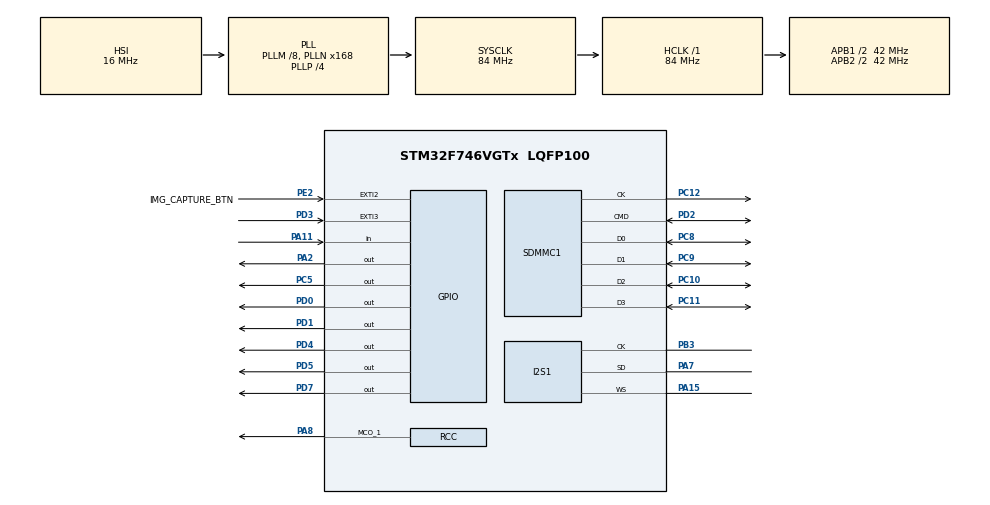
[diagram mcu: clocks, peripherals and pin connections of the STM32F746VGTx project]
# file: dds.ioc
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ARM.CMSIS.5.6.0.CMSISJjCORE=true
ARM.CMSIS.5.6.0.CMSISJjDSP=Source
CORTEX_M7.CPU_DCache=Enabled
CORTEX_M7.CPU_ICache=Enabled
Dma.Request0=SPI1_RX
Dma.SPI1_RX.0.Direction=DMA_PERIPH_TO_MEMORY
Dma.SPI1_RX.0.FIFOMode=DMA_FIFOMODE_DISABLE
Dma.SPI1_RX.0.Instance=DMA2_Stream0
Dma.SPI1_RX.0.MemDataAlignment=DMA_MDATAALIGN_HALFWORD
Dma.SPI1_RX.0.MemInc=DMA_MINC_ENABLE
Dma.SPI1_RX.0.Mode=DMA_NORMAL
Dma.SPI1_RX.0.PeriphDataAlignment=DMA_PDATAALIGN_HALFWORD
Dma.SPI1_RX.0.PeriphInc=DMA_PINC_DISABLE
Dma.SPI1_RX.0.Priority=DMA_PRIORITY_LOW
FATFS.BSP.number=1
FATFS._USE_LFN=1
FATFS0.BSP.STBoard=false
FATFS0.BSP.api=Unknown
FATFS0.BSP.i2caddr=0
FATFS0.BSP.instance=PA11
FATFS0.BSP.ip=GPIO
FATFS0.BSP.mode=Input
FATFS0.BSP.name=Detect_SDIO
FATFS0.BSP.solution=PA11
I2S1.AudioFreq=I2S_AUDIOFREQ_44K
I2S1.CPOL=I2S_CPOL_HIGH
I2S1.DataFormat=I2S_DATAFORMAT_24B
I2S1.ErrorAudioFreq=-1.35 %
I2S1.FullDuplexMode=I2S_FULLDUPLEXMODE_DISABLE
I2S1.Instance=SPI$Index
I2S1.Mode=I2S_MODE_MASTER_RX
I2S1.RealAudioFreq=43.402 KHz
I2S1.Standard=I2S_STANDARD_MSB
I2S1.VirtualMode=I2S_MODE_MASTER
Mcu.Family=STM32F7
Mcu.Name=STM32F746VGTx
Mcu.Package=LQFP100
Mcu.UserConstants=USE_HAL_DCMI_REGISTER_CALLBACKS,1
NVIC.DMA2_Stream0_IRQn=true\:0\:0\:false\:false\:true\:false\:true
NVIC.EXTI2_IRQn=true\:1\:0\:true\:false\:true\:true\:true
NVIC.EXTI3_IRQn=true\:1\:0\:true\:false\:true\:true\:true
NVIC.PriorityGroup=NVIC_PRIORITYGROUP_4
NVIC.SPI1_IRQn=true\:2\:0\:true\:false\:true\:true\:true
PA11.Signal=GPIO_Input
PA13.Mode=Serial_Wire
PA13.Signal=SYS_JTMS-SWDIO
PA14.Mode=Serial_Wire
PA14.Signal=SYS_JTCK-SWCLK
PA15.Mode=Half_Duplex_Master
PA15.Signal=I2S1_WS
PA2.Signal=GPIO_Output
PA7.Mode=Half_Duplex_Master
PA7.Signal=I2S1_SD
PA8.Mode=Clock-out-1
PA8.Signal=RCC_MCO_1
PB3.Mode=Half_Duplex_Master
PB3.Signal=I2S1_CK
PC10.GPIO_PuPd=GPIO_PULLUP
PC10.Mode=SD_4_bits_Wide_bus
PC10.Signal=SDMMC1_D2
PC11.GPIO_PuPd=GPIO_PULLUP
PC11.Mode=SD_4_bits_Wide_bus
PC11.Signal=SDMMC1_D3
PC12.GPIO_PuPd=GPIO_PULLUP
PC12.Mode=SD_4_bits_Wide_bus
PC12.Signal=SDMMC1_CK
PC5.Signal=GPIO_Output
PC8.GPIO_PuPd=GPIO_PULLUP
PC8.Mode=SD_4_bits_Wide_bus
PC8.Signal=SDMMC1_D0
PC9.GPIO_PuPd=GPIO_PULLUP
PC9.Mode=SD_4_bits_Wide_bus
PC9.Signal=SDMMC1_D1
PD0.GPIO_ModeDefaultOutputPP=GPIO_MODE_OUTPUT_OD
PD0.GPIO_PuPd=GPIO_PULLUP
PD0.GPIO_Speed=GPIO_SPEED_FREQ_VERY_HIGH
PD0.PinState=GPIO_PIN_SET
PD0.Signal=GPIO_Output
PD1.GPIO_ModeDefaultOutputPP=GPIO_MODE_OUTPUT_OD
PD1.GPIO_PuPd=GPIO_PULLUP
PD1.GPIO_Speed=GPIO_SPEED_FREQ_VERY_HIGH
PD1.PinState=GPIO_PIN_SET
PD1.Signal=GPIO_Output
PD2.GPIO_PuPd=GPIO_PULLUP
PD2.Mode=SD_4_bits_Wide_bus
PD2.Signal=SDMMC1_CMD
PD3.GPIO_ModeDefaultEXTI=GPIO_MODE_IT_FALLING
PD3.GPIO_PuPd=GPIO_NOPULL
PD3.Signal=GPXTI3
PD4.Signal=GPIO_Output
PD5.GPIO_ModeDefaultOutputPP=GPIO_MODE_OUTPUT_PP
PD5.Signal=GPIO_Output
PD7.Signal=GPIO_Output
PE2.GPIO_Label=IMG_CAPTURE_BTN
PE2.GPIO_ModeDefaultEXTI=GPIO_MODE_IT_FALLING
PE2.GPIO_PuPd=GPIO_NOPULL
PE2.Signal=GPXTI2
ProjectManager.HeapSize=0x10000
ProjectManager.StackSize=0x800
ProjectManager.TargetToolchain=MDK-ARM V5.27
RCC.AHBFreq_Value=84000000
RCC.APB1CLKDivider=RCC_HCLK_DIV2
RCC.APB1Freq_Value=42000000
RCC.APB1TimFreq_Value=84000000
RCC.APB2CLKDivider=RCC_HCLK_DIV2
RCC.APB2Freq_Value=42000000
RCC.APB2TimFreq_Value=84000000
RCC.CortexFreq_Value=84000000
RCC.HCLKFreq_Value=84000000
RCC.HSE_VALUE=8000000
RCC.HSI_VALUE=16000000
RCC.LSE_VALUE=32768
RCC.PLLI2SN=50
RCC.PLLI2SR=4
RCC.PLLM=8
RCC.PLLN=168
RCC.PLLP=RCC_PLLP_DIV4
RCC.PLLQ=14
RCC.SDMMCClockSelection=RCC_SDMMC1CLKSOURCE_CLK48
RCC.SYSCLKFreq_VALUE=84000000
RCC.SYSCLKSource=RCC_SYSCLKSOURCE_PLLCLK
RCC.USBFreq_Value=24000000
RCC.VCOOutputFreq_Value=336000000
VP_ARM.CMSIS_VS_CMSISJjCORE_5.3.0.Mode=CMSISJjCORE
VP_ARM.CMSIS_VS_CMSISJjDSP_1.7.0.Mode=CMSISJjDSP
VP_FATFS_VS_SDIO.Mode=SDIO
VP_RTC_VS_RTC_Activate.Mode=RTC_Enabled
VP_RTC_VS_RTC_Calendar.Mode=RTC_Calendar
board=custom

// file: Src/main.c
/* USER CODE BEGIN Header */
/**
  ******************************************************************************
  * @file           : main.c
  * @brief          : Main program body
  ******************************************************************************
  * @attention
  *
  * <h2><center>&copy; Copyright (c) 2021 STMicroelectronics.
  * All rights reserved.</center></h2>
  *
  * This software component is licensed by ST under Ultimate Liberty license
  * SLA0044, the "License"; You may not use this file except in compliance with
  * the License. You may obtain a copy of the License at:
  *                             www.st.com/SLA0044
  *
  ******************************************************************************
  */
/* USER CODE END Header */

#include "main.h"
#include "fatfs.h"

/* USER CODE BEGIN Includes */
#include <string.h>
#include <stdio.h>
#include <stdlib.h>
#include <stdbool.h>

#include "ov5640.h"
#include "arm_math.h"

#pragma pack(1)
#include "wav_file.h"
/* USER CODE END Includes */

/* USER CODE BEGIN PTD */

#define I2S_SAMPLE_RATE_HZ 		(44100)
#define I2S_SAMPLE_PER_INT 		(I2S_SAMPLE_RATE_HZ / 8)
#define I2S_BUFSIZE_SAMPLES 	(I2S_SAMPLE_PER_INT * 2)		// sampled in stereo, but only single channel used
#define I2S_BUFSIZE_HALFWORD	(I2S_BUFSIZE_SAMPLES * 2)
#define I2S_BUFSIZE_WORD			(I2S_BUFSIZE_HALFWORD /2)
#define I2S_QUEUE_LEN  				(6)

#define AMP_FACTOR						(3)

//#define ENABLE_RTC

/* USER CODE END PTD */

I2S_HandleTypeDef hi2s1;
DMA_HandleTypeDef hdma_spi1_rx;

RTC_HandleTypeDef hrtc;

SD_HandleTypeDef hsd1;

/* USER CODE BEGIN PV */
uint8_t  i2s_queue_head = 0;
uint8_t  i2s_queue_tail = 0;
uint16_t audio_sample_buf[I2S_QUEUE_LEN][I2S_BUFSIZE_HALFWORD];
int16_t audio_fwrite_buf[I2S_SAMPLE_PER_INT];

volatile float32_t iir_in[I2S_SAMPLE_PER_INT];
volatile float32_t iir_out[I2S_SAMPLE_PER_INT];

volatile bool run_state = false;
volatile bool i2s_file_opened = false;

volatile bool dcmi_triggered = false;
volatile bool dcmi_data_valid = false;

volatile FRESULT result_audio_write 	= FR_DENIED;
volatile FRESULT result_audio_close		= FR_DENIED;
volatile FRESULT result_audio_open 		= FR_DENIED;

void indicate_err();
void indicate_success();
void indicate_stop();
void indicate_ready();

void start_recording();
void stop_recording();

void i2s_to_fs();

void file_err_handler(void);

void test_setrtc();
void create_stream_dir();

volatile bool init_done = false;
/* USER CODE END PV */

void SystemClock_Config(void);
static void MX_GPIO_Init(void);
static void MX_DMA_Init(void);
static void MX_I2S1_Init(void);
static void MX_SDMMC1_SD_Init(void);
static void MX_RTC_Init(void);

/* USER CODE BEGIN 0 */

/* Number of i2s interrupts */
volatile int i2s_int_cnt = 0;
volatile int i2s_fs_cnt = 0;
volatile int i2s_queue_ovf_cnt = 0;
volatile int fs_fail_cnt = 0;
volatile int exti3_int_cnt = 0;

WAVHeader wav_header;
WAVData wav_data;
char audio_filename[50];
UINT bw;

float32_t iir_coeffs[5] = {
	0.8118496248713318f,
	1.6236992497426637f,
	0.8118496248713318f,
	-1.588572206276975f,
	-0.6588262932083526f
};

const float32_t a0 = 0.8118496248713318f;
const float32_t a1 = 1.6236992497426637f;
const float32_t a2 = 0.8118496248713318f;
const float32_t b1 = 1.588572206276975f;
const float32_t b2 = 0.6588262932083526f;

float32_t in_z1, in_z2, out_z1, out_z2;

float32_t iir_states[4];

arm_biquad_casd_df1_inst_f32 biquad_config;

int16_t Calc_IIR (int16_t inSample) {
	float inSampleF = (float)inSample;
	float outSampleF =
			a0 * inSampleF
			+ a1 * in_z1
			+ a2 * in_z2
			- b1 * out_z1
			- b2 * out_z2;
	in_z2 = in_z1;
	in_z1 = inSampleF;
	out_z2 = out_z1;
	out_z1 = outSampleF;

	return (int16_t) outSampleF;
}

/* USER CODE END 0 */

int main(void)
{

  /* Enable I-Cache---------------------------------------------------------*/
  SCB_EnableICache();

  /* Enable D-Cache---------------------------------------------------------*/
  SCB_EnableDCache();

  /* MCU Configuration--------------------------------------------------------*/

  /* Reset of all peripherals, Initializes the Flash interface and the Systick. */
  HAL_Init();

  /* Configure the system clock */
  SystemClock_Config();

  /* Initialize all configured peripherals */
  MX_GPIO_Init();
  MX_DMA_Init();
  MX_I2S1_Init();
  MX_SDMMC1_SD_Init();
  MX_FATFS_Init();

	#ifdef ENABLE_RTC
		MX_RTC_Init();
	#endif
  /* USER CODE BEGIN 2 */

	//HAL_RTC_GetTime(&hrtc, &rtc_time, FORMAT_BIN);
	//HAL_RTC_GetDate(&hrtc, &rtc_date, FORMAT_BIN);

	if (HAL_I2S_DeInit(&hi2s1) != HAL_OK)
  {
    Error_Handler();
  }

	//test_setrtc();
	HAL_Delay(100);

	HAL_GPIO_WritePin(GPIOD, GPIO_PIN_7, GPIO_PIN_RESET);
	HAL_GPIO_WritePin(GPIOD, GPIO_PIN_5, GPIO_PIN_RESET);
	HAL_GPIO_WritePin(GPIOD, GPIO_PIN_4, GPIO_PIN_RESET);

  volatile FRESULT result_mount = FR_INVALID_PARAMETER;
	int mount_fail_cnt = 0;

	volatile HAL_StatusTypeDef result = HAL_SD_Init(&hsd1);
	while (result != HAL_OK) {
		result = HAL_SD_Init(&hsd1);
	}
	volatile HAL_StatusTypeDef result2 = HAL_SD_InitCard(&hsd1);
	result_mount = f_mount(&SDFatFS, SDPath, 1);

	while (result_mount != FR_OK) {
			HAL_SD_DeInit(&hsd1);
			HAL_SD_Init(&hsd1);
			HAL_SD_InitCard(&hsd1);

			result_mount = f_mount(&SDFatFS, SDPath, 1);
	};

	//create_stream_dir();
	//f_mkdir("image");
	//volatile FRESULT fresult = f_mkdir("audio");
	HAL_Delay(50);

	for (int cnt=0; cnt < 200; ) {
		HAL_Delay(10);
		if (HAL_GPIO_ReadPin(GPIOD, GPIO_PIN_3) == GPIO_PIN_RESET){
			cnt = 0;
		} else {
			cnt++;
		}
	}

	__HAL_GPIO_EXTI_CLEAR_IT(GPIO_PIN_3);
	HAL_Delay(50);
	indicate_ready();
	init_done = true;

  /* USER CODE END 2 */

  /* Infinite loop */
  while (1)
  {

    /* USER CODE BEGIN 3 */
		if (!run_state) {
			if (i2s_file_opened) {
				i2s_file_opened = false;
				//result_audio_close = FR_DENIED;
				//while (result_audio_close != FR_OK) {
				//	result_audio_close = f_close(&SDFile);
				//}
				result_mount = FR_DENIED;

				f_close(&SDFile);
				while (result_mount != FR_OK) {
					HAL_SD_DeInit(&hsd1);
					HAL_SD_Init(&hsd1);
					HAL_SD_InitCard(&hsd1);
					result_mount = f_mount(&SDFatFS, SDPath, 1);
				};
			}

			i2s_queue_head = 0;
			i2s_queue_tail = 0;
			//continue;
		} else if (i2s_queue_head != i2s_queue_tail) {
			i2s_to_fs();
		}
  }
  /* USER CODE END 3 */
}

void SystemClock_Config(void)
{
  RCC_OscInitTypeDef RCC_OscInitStruct = {0};
  RCC_ClkInitTypeDef RCC_ClkInitStruct = {0};
  RCC_PeriphCLKInitTypeDef PeriphClkInitStruct = {0};

  /** Configure the main internal regulator output voltage
  */
  __HAL_RCC_PWR_CLK_ENABLE();
  __HAL_PWR_VOLTAGESCALING_CONFIG(PWR_REGULATOR_VOLTAGE_SCALE3);
  /** Initializes the CPU, AHB and APB busses clocks
  */
  RCC_OscInitStruct.OscillatorType = RCC_OSCILLATORTYPE_HSI|RCC_OSCILLATORTYPE_LSI;
  RCC_OscInitStruct.HSIState = RCC_HSI_ON;
  RCC_OscInitStruct.HSICalibrationValue = RCC_HSICALIBRATION_DEFAULT;
  RCC_OscInitStruct.LSIState = RCC_LSI_ON;
  RCC_OscInitStruct.PLL.PLLState = RCC_PLL_ON;
  RCC_OscInitStruct.PLL.PLLSource = RCC_PLLSOURCE_HSI;
  RCC_OscInitStruct.PLL.PLLM = 8;
  RCC_OscInitStruct.PLL.PLLN = 168;
  RCC_OscInitStruct.PLL.PLLP = RCC_PLLP_DIV4;
  RCC_OscInitStruct.PLL.PLLQ = 14;
  if (HAL_RCC_OscConfig(&RCC_OscInitStruct) != HAL_OK)
  {
    Error_Handler();
  }
  /** Initializes the CPU, AHB and APB busses clocks
  */
  RCC_ClkInitStruct.ClockType = RCC_CLOCKTYPE_HCLK|RCC_CLOCKTYPE_SYSCLK
                              |RCC_CLOCKTYPE_PCLK1|RCC_CLOCKTYPE_PCLK2;
  RCC_ClkInitStruct.SYSCLKSource = RCC_SYSCLKSOURCE_PLLCLK;
  RCC_ClkInitStruct.AHBCLKDivider = RCC_SYSCLK_DIV1;
  RCC_ClkInitStruct.APB1CLKDivider = RCC_HCLK_DIV2;
  RCC_ClkInitStruct.APB2CLKDivider = RCC_HCLK_DIV2;

  if (HAL_RCC_ClockConfig(&RCC_ClkInitStruct, FLASH_LATENCY_2) != HAL_OK)
  {
    Error_Handler();
  }
  PeriphClkInitStruct.PeriphClockSelection = RCC_PERIPHCLK_RTC|RCC_PERIPHCLK_SDMMC1
                              |RCC_PERIPHCLK_I2S|RCC_PERIPHCLK_CLK48;
  PeriphClkInitStruct.PLLI2S.PLLI2SN = 50;
  PeriphClkInitStruct.PLLI2S.PLLI2SP = RCC_PLLP_DIV2;
  PeriphClkInitStruct.PLLI2S.PLLI2SR = 4;
  PeriphClkInitStruct.PLLI2S.PLLI2SQ = 2;
  PeriphClkInitStruct.PLLI2SDivQ = 1;
  PeriphClkInitStruct.RTCClockSelection = RCC_RTCCLKSOURCE_LSI;
  PeriphClkInitStruct.I2sClockSelection = RCC_I2SCLKSOURCE_PLLI2S;
  PeriphClkInitStruct.Clk48ClockSelection = RCC_CLK48SOURCE_PLL;
  PeriphClkInitStruct.Sdmmc1ClockSelection = RCC_SDMMC1CLKSOURCE_CLK48;
  if (HAL_RCCEx_PeriphCLKConfig(&PeriphClkInitStruct) != HAL_OK)
  {
    Error_Handler();
  }
  HAL_RCC_MCOConfig(RCC_MCO1, RCC_MCO1SOURCE_HSI, RCC_MCODIV_1);
}

static void MX_I2S1_Init(void)
{

  hi2s1.Instance = SPI1;
  hi2s1.Init.Mode = I2S_MODE_MASTER_RX;
  hi2s1.Init.Standard = I2S_STANDARD_MSB;
  hi2s1.Init.DataFormat = I2S_DATAFORMAT_24B;
  hi2s1.Init.MCLKOutput = I2S_MCLKOUTPUT_DISABLE;
  hi2s1.Init.AudioFreq = I2S_AUDIOFREQ_44K;
  hi2s1.Init.CPOL = I2S_CPOL_HIGH;
  hi2s1.Init.ClockSource = I2S_CLOCK_PLL;
  if (HAL_I2S_Init(&hi2s1) != HAL_OK)
  {
    Error_Handler();
  }

}

static void MX_RTC_Init(void)
{

  RTC_TimeTypeDef sTime = {0};
  RTC_DateTypeDef sDate = {0};

  /** Initialize RTC Only
  */
  hrtc.Instance = RTC;
  hrtc.Init.HourFormat = RTC_HOURFORMAT_24;
  hrtc.Init.AsynchPrediv = 127;
  hrtc.Init.SynchPrediv = 255;
  hrtc.Init.OutPut = RTC_OUTPUT_DISABLE;
  hrtc.Init.OutPutPolarity = RTC_OUTPUT_POLARITY_HIGH;
  hrtc.Init.OutPutType = RTC_OUTPUT_TYPE_OPENDRAIN;
  if (HAL_RTC_Init(&hrtc) != HAL_OK)
  {
    Error_Handler();
  }

  /** Initialize RTC and set the Time and Date
  */
  sTime.Hours = 0x0;
  sTime.Minutes = 0x0;
  sTime.Seconds = 0x0;
  sTime.DayLightSaving = RTC_DAYLIGHTSAVING_NONE;
  sTime.StoreOperation = RTC_STOREOPERATION_RESET;
  if (HAL_RTC_SetTime(&hrtc, &sTime, RTC_FORMAT_BCD) != HAL_OK)
  {
    Error_Handler();
  }
  sDate.WeekDay = RTC_WEEKDAY_MONDAY;
  sDate.Month = RTC_MONTH_JANUARY;
  sDate.Date = 0x1;
  sDate.Year = 0x0;

  if (HAL_RTC_SetDate(&hrtc, &sDate, RTC_FORMAT_BCD) != HAL_OK)
  {
    Error_Handler();
  }

}

static void MX_SDMMC1_SD_Init(void)
{

  hsd1.Instance = SDMMC1;
  hsd1.Init.ClockEdge = SDMMC_CLOCK_EDGE_RISING;
  hsd1.Init.ClockBypass = SDMMC_CLOCK_BYPASS_DISABLE;
  hsd1.Init.ClockPowerSave = SDMMC_CLOCK_POWER_SAVE_DISABLE;
  hsd1.Init.BusWide = SDMMC_BUS_WIDE_1B;
  hsd1.Init.HardwareFlowControl = SDMMC_HARDWARE_FLOW_CONTROL_DISABLE;
  hsd1.Init.ClockDiv = 0;

}

static void MX_DMA_Init(void)
{

  /* DMA controller clock enable */
  __HAL_RCC_DMA2_CLK_ENABLE();

  /* DMA interrupt init */
  /* DMA2_Stream0_IRQn interrupt configuration */
  HAL_NVIC_SetPriority(DMA2_Stream0_IRQn, 0, 0);
  HAL_NVIC_EnableIRQ(DMA2_Stream0_IRQn);

}

static void MX_GPIO_Init(void)
{
  GPIO_InitTypeDef GPIO_InitStruct = {0};

  /* GPIO Ports Clock Enable */
  __HAL_RCC_GPIOE_CLK_ENABLE();
  __HAL_RCC_GPIOA_CLK_ENABLE();
  __HAL_RCC_GPIOC_CLK_ENABLE();
  __HAL_RCC_GPIOD_CLK_ENABLE();
  __HAL_RCC_GPIOB_CLK_ENABLE();

  /*Configure GPIO pin Output Level */
  HAL_GPIO_WritePin(GPIOA, GPIO_PIN_2, GPIO_PIN_RESET);

  /*Configure GPIO pin Output Level */
  HAL_GPIO_WritePin(GPIOC, GPIO_PIN_5, GPIO_PIN_RESET);

  /*Configure GPIO pin Output Level */
  HAL_GPIO_WritePin(GPIOD, GPIO_PIN_0|GPIO_PIN_1, GPIO_PIN_SET);

  /*Configure GPIO pin Output Level */
  HAL_GPIO_WritePin(GPIOD, GPIO_PIN_4|GPIO_PIN_5|GPIO_PIN_7, GPIO_PIN_RESET);

  /*Configure GPIO pin : IMG_CAPTURE_BTN_Pin */
  GPIO_InitStruct.Pin = IMG_CAPTURE_BTN_Pin;
  GPIO_InitStruct.Mode = GPIO_MODE_IT_FALLING;
  GPIO_InitStruct.Pull = GPIO_NOPULL;
  HAL_GPIO_Init(IMG_CAPTURE_BTN_GPIO_Port, &GPIO_InitStruct);

  /*Configure GPIO pin : PA2 */
  GPIO_InitStruct.Pin = GPIO_PIN_2;
  GPIO_InitStruct.Mode = GPIO_MODE_OUTPUT_PP;
  GPIO_InitStruct.Pull = GPIO_NOPULL;
  GPIO_InitStruct.Speed = GPIO_SPEED_FREQ_LOW;
  HAL_GPIO_Init(GPIOA, &GPIO_InitStruct);

  /*Configure GPIO pin : PC5 */
  GPIO_InitStruct.Pin = GPIO_PIN_5;
  GPIO_InitStruct.Mode = GPIO_MODE_OUTPUT_PP;
  GPIO_InitStruct.Pull = GPIO_NOPULL;
  GPIO_InitStruct.Speed = GPIO_SPEED_FREQ_LOW;
  HAL_GPIO_Init(GPIOC, &GPIO_InitStruct);

  /*Configure GPIO pin : PA8 */
  GPIO_InitStruct.Pin = GPIO_PIN_8;
  GPIO_InitStruct.Mode = GPIO_MODE_AF_PP;
  GPIO_InitStruct.Pull = GPIO_NOPULL;
  GPIO_InitStruct.Speed = GPIO_SPEED_FREQ_LOW;
  GPIO_InitStruct.Alternate = GPIO_AF0_MCO;
  HAL_GPIO_Init(GPIOA, &GPIO_InitStruct);

  /*Configure GPIO pin : PA11 */
  GPIO_InitStruct.Pin = GPIO_PIN_11;
  GPIO_InitStruct.Mode = GPIO_MODE_INPUT;
  GPIO_InitStruct.Pull = GPIO_NOPULL;
  HAL_GPIO_Init(GPIOA, &GPIO_InitStruct);

  /*Configure GPIO pins : PD0 PD1 */
  GPIO_InitStruct.Pin = GPIO_PIN_0|GPIO_PIN_1;
  GPIO_InitStruct.Mode = GPIO_MODE_OUTPUT_OD;
  GPIO_InitStruct.Pull = GPIO_PULLUP;
  GPIO_InitStruct.Speed = GPIO_SPEED_FREQ_VERY_HIGH;
  HAL_GPIO_Init(GPIOD, &GPIO_InitStruct);

  /*Configure GPIO pin : PD3 */
  GPIO_InitStruct.Pin = GPIO_PIN_3;
  GPIO_InitStruct.Mode = GPIO_MODE_IT_FALLING;
  GPIO_InitStruct.Pull = GPIO_NOPULL;
  HAL_GPIO_Init(GPIOD, &GPIO_InitStruct);

  /*Configure GPIO pins : PD4 PD5 PD7 */
  GPIO_InitStruct.Pin = GPIO_PIN_4|GPIO_PIN_5|GPIO_PIN_7;
  GPIO_InitStruct.Mode = GPIO_MODE_OUTPUT_PP;
  GPIO_InitStruct.Pull = GPIO_NOPULL;
  GPIO_InitStruct.Speed = GPIO_SPEED_FREQ_LOW;
  HAL_GPIO_Init(GPIOD, &GPIO_InitStruct);

  /* EXTI interrupt init*/
  HAL_NVIC_SetPriority(EXTI2_IRQn, 1, 0);
  HAL_NVIC_EnableIRQ(EXTI2_IRQn);

  HAL_NVIC_SetPriority(EXTI3_IRQn, 1, 0);
  HAL_NVIC_EnableIRQ(EXTI3_IRQn);

}

/* USER CODE BEGIN 4 */

void HAL_GPIO_EXTI_Callback(uint16_t GPIO_Pin)
{
	GPIO_TypeDef *port;

	switch (GPIO_Pin) {
		case GPIO_PIN_2:
			port = GPIOE;
			break;

		case GPIO_PIN_3:
			port = GPIOD;
			break;
	}

	if (!init_done)
		return;

	HAL_NVIC_DisableIRQ(EXTI2_IRQn);
	HAL_NVIC_DisableIRQ(EXTI3_IRQn);
	__HAL_GPIO_EXTI_CLEAR_IT(GPIO_Pin);

	static int debounce_threshhold = 100;

	/* Button Debouncing - wait for release */
	for (int cnt=0;;) {
		HAL_Delay(5);

		if (HAL_GPIO_ReadPin(port, GPIO_Pin) == GPIO_PIN_RESET){
			cnt++;
		} else {
			cnt--;
		}

		if (abs(cnt) > debounce_threshhold){
			if (cnt < 0) {
				HAL_NVIC_EnableIRQ(EXTI2_IRQn);
				HAL_NVIC_EnableIRQ(EXTI3_IRQn);
				HAL_NVIC_ClearPendingIRQ(EXTI2_IRQn);
				HAL_NVIC_ClearPendingIRQ(EXTI3_IRQn);
				__HAL_GPIO_EXTI_CLEAR_IT(GPIO_PIN_3);
				return;
			}
			else
				break;
		}
	}

	switch(GPIO_Pin)
	{
		case GPIO_PIN_2:
			break;

		case GPIO_PIN_3:
			exti3_int_cnt++;
			indicate_stop();

			/* Prepare Directories */

			if (!run_state){
				create_stream_dir();
				f_mkdir("image");
				f_mkdir("audio");
				start_recording();
			}
			else {
				stop_recording();
			}
			break;

		default:
			break;
	}

	/* Button Debouncing - wait for release */
	for (int cnt=0; cnt < debounce_threshhold; ) {
		HAL_Delay(5);
		if ((HAL_GPIO_ReadPin(GPIOD, GPIO_Pin) == GPIO_PIN_SET))
			cnt++;
		else
			cnt = 0;
	}

	HAL_NVIC_EnableIRQ(EXTI2_IRQn);
	HAL_NVIC_EnableIRQ(EXTI3_IRQn);
	HAL_NVIC_ClearPendingIRQ(EXTI2_IRQn);
	HAL_NVIC_ClearPendingIRQ(EXTI3_IRQn);
	__HAL_GPIO_EXTI_CLEAR_IT(GPIO_PIN_3);
}

uint8_t getNextI2sQueueTail() {
	const uint8_t is_last_idx = (i2s_queue_tail == (I2S_QUEUE_LEN-1));
	return is_last_idx ? 0 : i2s_queue_tail+1;
}

uint8_t getNextI2sQueueHead() {
	const uint8_t is_last_idx = (i2s_queue_head == (I2S_QUEUE_LEN-1));
	return is_last_idx ? 0 : i2s_queue_head+1;
}

void HAL_I2S_RxCpltCallback(I2S_HandleTypeDef *hi2s)
{
	i2s_int_cnt++;

	const bool i2s_queue_full = (i2s_queue_head == getNextI2sQueueTail());
	const uint8_t is_last_idx = (i2s_queue_tail == (I2S_QUEUE_LEN-1));

	if (i2s_queue_full) {
		HAL_I2S_Receive_DMA(&hi2s1, audio_sample_buf[i2s_queue_tail], I2S_BUFSIZE_WORD);
		i2s_queue_ovf_cnt++;
		return;
	}

	i2s_queue_tail = getNextI2sQueueTail();

	/* Issue I2S Read */
	while (HAL_I2S_GetState(&hi2s1) != HAL_I2S_STATE_READY) {};
	HAL_I2S_Receive_DMA(&hi2s1, audio_sample_buf[i2s_queue_tail], I2S_BUFSIZE_WORD);
}

void HAL_I2S_ErrorCallback(I2S_HandleTypeDef *hi2s) {
}

void indicate_err() {
	for (int i = 0; i < 10; i++){
		HAL_GPIO_WritePin(GPIOD, GPIO_PIN_7, GPIO_PIN_SET);
		HAL_Delay(100);
		HAL_GPIO_WritePin(GPIOD, GPIO_PIN_7, GPIO_PIN_RESET);
		HAL_Delay(100);
	}
}

void indicate_fault() {
		HAL_GPIO_WritePin(GPIOD, GPIO_PIN_7, GPIO_PIN_SET);
}

/********************************
		LED Control Functions
*********************************/

void indicate_success() {
	for (int i = 0; i < 2; i++){
		HAL_GPIO_WritePin(GPIOD, GPIO_PIN_7, GPIO_PIN_SET);
		HAL_Delay(500);
		HAL_GPIO_WritePin(GPIOD, GPIO_PIN_7, GPIO_PIN_RESET);
		HAL_Delay(500);
	}
}

void indicate_ready() {
	HAL_GPIO_WritePin(GPIOD, GPIO_PIN_7, GPIO_PIN_SET);
}

void indicate_stop() {
	for (int i = 0; i < 4; i++){
		HAL_GPIO_WritePin(GPIOD, GPIO_PIN_7, GPIO_PIN_SET);
		HAL_Delay(200);
		HAL_GPIO_WritePin(GPIOD, GPIO_PIN_7, GPIO_PIN_RESET);
		HAL_Delay(200);
	}
}

void stop_recording() {

	run_state = false;

	/* Stop I2S */
	//if (HAL_I2S_DeInit(&hi2s1) != HAL_OK)
	//{
	//	Error_Handler();
	//}
	HAL_I2S_DMAStop(&hi2s1);
	HAL_NVIC_DisableIRQ(SPI1_IRQn);
	HAL_NVIC_ClearPendingIRQ(SPI1_IRQn);
	HAL_Delay(500);

	/* Turn off Indicator LED */
	indicate_stop();

}

void start_recording() {

	indicate_success();

	/* Open FatFS filestreams */
	char img_idx_str[20]="";
	sprintf(img_idx_str, "%d", 2);

	strcpy(audio_filename, "");
	f_getcwd(audio_filename, 20);
	strcat(audio_filename, "/audio/audio");
	//strcat(audio_filename, img_idx_str);
	strcat(audio_filename, ".wav");

	init_default(&wav_header);

	result_audio_open = create_wav_fatfs(&SDFile, audio_filename, &wav_header);

	if (result_audio_open != FR_OK) {
		indicate_err();
		return;
	}
	i2s_file_opened = true;

	/* Initialize Audio Filter */
	arm_biquad_cascade_df1_init_f32(&biquad_config, 1, iir_coeffs, iir_states);

	/* Start I2S audio */
	if (HAL_I2S_Init(&hi2s1) != HAL_OK)
	{
		Error_Handler();
	}
	HAL_NVIC_EnableIRQ(SPI1_IRQn);
	HAL_Delay(500);

	HAL_I2S_Receive_DMA(&hi2s1, audio_sample_buf[i2s_queue_tail], I2S_BUFSIZE_WORD);

	/* Turn on Indicator LED */
	run_state = true;
	indicate_ready();
}

void i2s_to_fs() {
	volatile int start_idx = 0;
	volatile int len = 0;
	UINT bw;
	volatile uint16_t val;

	if (i2s_queue_head == i2s_queue_tail)
		return;

	/* Search for first half-word data of i2s audio buffer */
	for (start_idx = 0; start_idx < 4; start_idx++) {
		if ((audio_sample_buf[i2s_queue_head][start_idx] & 0x1fff) != 0x0000)
			break;
	}

	/* Current I2S setting: 18 bits sample from 32 bit data frame.
	   Extract most significant 16 bit only. */
	for (len = 0; (len*4 + start_idx) < I2S_BUFSIZE_HALFWORD; len++) {
		int idx_buf = len;
		int idx_sample = len*4 + start_idx;
		int16_t wval =   ((audio_sample_buf[i2s_queue_head][idx_sample] << 1)
											| (audio_sample_buf[i2s_queue_head][idx_sample+1] >> 15));

		//audio_fwrite_buf[len] = Calc_IIR(wval)*3;//wval;
		iir_in[len] = (float32_t) wval * AMP_FACTOR;
	}

	arm_biquad_cascade_df1_f32(&biquad_config, iir_in, iir_out, len);

	for (int i = 0; i < len; i++) {
		audio_fwrite_buf[i] = (int16_t) iir_out[i];
	}
	result_audio_write = write_pcm_data(&SDFile, audio_fwrite_buf, len);

	if (result_audio_write != FR_OK) {
		static int reopen_cnt = 0;
		reopen_cnt++;

		FRESULT result_reopen = FR_DENIED;
		while (result_reopen != FR_OK) {
			f_close(&SDFile);
			result_reopen = f_open(&SDFile, audio_filename, FA_WRITE | FA_OPEN_APPEND | FA_READ);
		}
	}

	if ((!(i2s_fs_cnt%100)) && (i2s_fs_cnt > 0)) {
		f_sync(&SDFile);
		//f_close(&SDFile);
		//result_audio_open = f_open(&SDFile, audio_filename, FA_WRITE | FA_OPEN_APPEND | FA_READ);
	}

	i2s_queue_head = getNextI2sQueueHead();

	i2s_fs_cnt++;
}

void file_err_handler(void) {

	fs_fail_cnt++;
	indicate_err();

	FRESULT audio_closed = f_close(&SDFile);

	if (audio_closed != FR_OK) {
		HAL_SD_InitCard(&hsd1);
		f_mount(&SDFatFS, SDPath, 1);
	}

	FRESULT audio_opened = f_open(&SDFile, audio_filename, FA_WRITE | FA_OPEN_APPEND);

	if (audio_opened != FR_OK)
		file_err_handler();
}

#ifdef ENABLE_RTC
void test_setrtc() {
	RTC_TimeTypeDef rtc_time;
	RTC_DateTypeDef rtc_date;
	RTC_AlarmTypeDef sAlarm;

	rtc_date.Year = 22;
	rtc_date.Month = 9;
	rtc_date.Date = 18;

	rtc_time.Hours = 13;
	rtc_time.Minutes = 04;
	rtc_time.Seconds = 0;

	HAL_RTC_SetTime(&hrtc, &rtc_time, FORMAT_BIN);
	HAL_RTC_SetDate(&hrtc, &rtc_date, FORMAT_BIN);
}
#endif

void create_stream_dir() {

	#ifdef ENABLE_RTC
		RTC_TimeTypeDef rtc_time;
		RTC_DateTypeDef rtc_date;
		RTC_AlarmTypeDef sAlarm;
		char date_str[80];

		HAL_RTC_GetTime(&hrtc, &rtc_time, FORMAT_BIN);
		HAL_RTC_GetDate(&hrtc, &rtc_date, FORMAT_BIN);

		sprintf(date_str, "%02d%02d%02d%02d%02d%02d", rtc_date.Year, rtc_date.Month , rtc_date.Date,
																						rtc_time.Hours, rtc_time.Minutes, rtc_time.Seconds);

		volatile FRESULT result;
		result = f_chdir("/");
		result = f_mkdir(date_str);
		result = f_chdir(date_str);

	#else
		volatile FRESULT result;

		DIR DIR;
		for (int i=0;;i++) {
			char dirname[6];
			sprintf(dirname, "%d", i);

			f_chdir("/");
			result = f_opendir(&DIR, dirname);
			f_closedir(&DIR);
			if (result == FR_OK){
				continue;
			}
			else if (result == FR_NO_PATH) {
				result = f_chdir("/");
				result = f_mkdir(dirname);
				result = f_chdir(dirname);
				break;
			}
			else {
				indicate_err();
			}
		}

	#endif
}

/* USER CODE END 4 */

void Error_Handler(void)
{
  /* USER CODE BEGIN Error_Handler_Debug */
  /* User can add his own implementation to report the HAL error return state */

	while (true) {
		indicate_stop();
	}

  /* USER CODE END Error_Handler_Debug */
}

/************************ (C) COPYRIGHT STMicroelectronics *****END OF FILE****/
